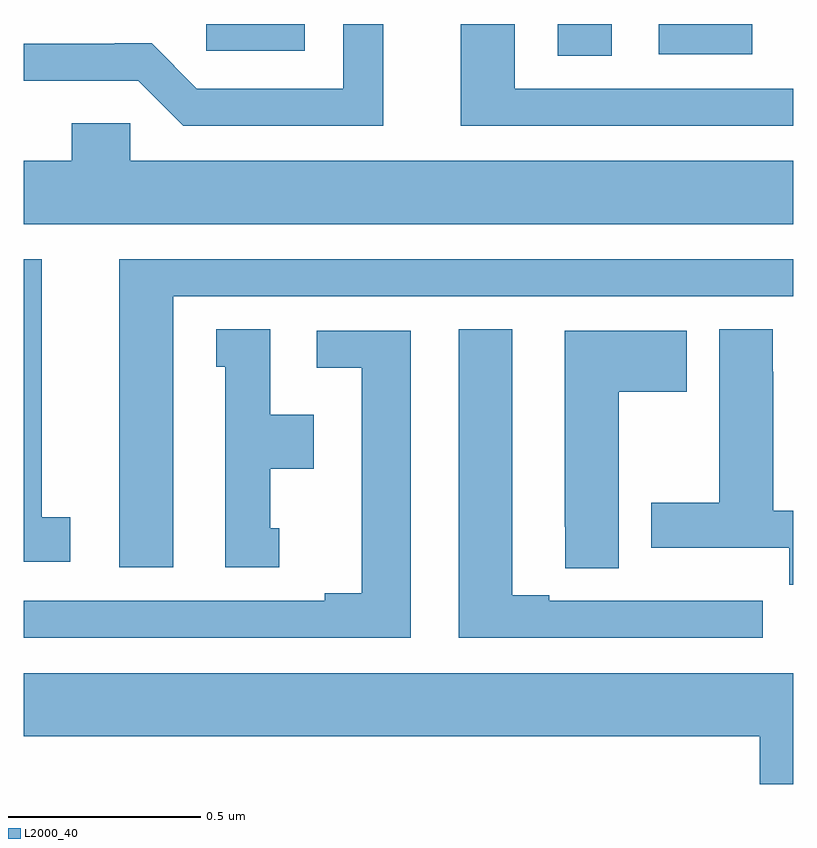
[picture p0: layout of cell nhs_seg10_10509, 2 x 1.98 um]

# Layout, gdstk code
import gdstk
lib = gdstk.Library(unit=1e-6, precision=1e-09)
def R(c, l, rs):  # rectangles x0, y0, x1, y1
    for r in rs: c.add(gdstk.rectangle(r[:2], r[2:], *l))
def P(c, l, *ps):  # polygons
    for p in ps: c.add(gdstk.Polygon(p, *l))
L2000_40 = (2000, 40)

nhs_seg10_10509 = lib.new_cell('nhs_seg10_10509')
R(nhs_seg10_10509, L2000_40, [(244.388,1303.417,244.528,1303.5), (244.65,1303.422,244.894,1303.5), (243.474,1303.431,243.73,1303.5)])
P(nhs_seg10_10509, L2000_40, [(245,1303.332),(244.276,1303.332),(244.276,1303.5),(244.136,1303.5),(244.136,1303.236),(245,1303.236)],
  [(243.934,1303.5),(243.83,1303.5),(243.83,1303.332),(243.45,1303.332),(243.332,1303.45),(243.236,1303.45),(243.236,1303.449),(243,1303.449),(243,1303.352),(243.041,1303.352),(243.041,1303.353),(243.297,1303.353),(243.414,1303.236),(243.934,1303.236)],
  [(245,1303.144),(243.276,1303.144),(243.276,1303.242),(243.125,1303.242),(243.125,1303.144),(243,1303.144),(243,1302.98),(245,1302.98)],
  [(243.121,1302.218),(243.046,1302.218),(243.046,1302.888),(243,1302.888),(243,1302.102),(243.121,1302.102)],
  [(243.388,1302.792),(245,1302.792),(245,1302.888),(243.248,1302.888),(243.248,1302.087),(243.388,1302.087)],
  [(243.664,1302.189),(243.64,1302.189),(243.64,1302.344),(243.754,1302.344),(243.754,1302.484),(243.64,1302.484),(243.64,1302.707),(243.5,1302.707),(243.5,1302.609),(243.524,1302.609),(243.524,1302.087),(243.664,1302.087)],
  [(245,1302.234),(244.948,1302.234),(244.948,1302.596),(244.947,1302.596),(244.947,1302.707),(244.808,1302.707),(244.808,1302.255),(244.631,1302.255),(244.631,1302.138),(244.99,1302.138),(244.99,1302.042),(245,1302.042)],
  [(244.921,1302),(244.808,1302),(244.808,1302.001),(244.642,1302.001),(244.642,1302),(244.366,1302),(244.366,1302.015),(244.27,1302.015),(244.27,1302.707),(244.13,1302.707),(244.13,1301.904),(244.921,1301.904)],
  [(244.546,1302.544),(244.723,1302.544),(244.723,1302.703),(244.406,1302.703),(244.406,1302.193),(244.407,1302.193),(244.407,1302.085),(244.546,1302.085)],
  [(244.006,1302.702),(243.762,1302.702),(243.762,1302.606),(243.878,1302.606),(243.878,1302.02),(243.782,1302.02),(243.782,1302),(243,1302),(243,1301.904),(244.006,1301.904)],
  [(245,1301.812),(243,1301.812),(243,1301.648),(244.913,1301.648),(244.913,1301.524),(245,1301.524)])

lib.write_gds('nhs_seg10_10509.gds')
